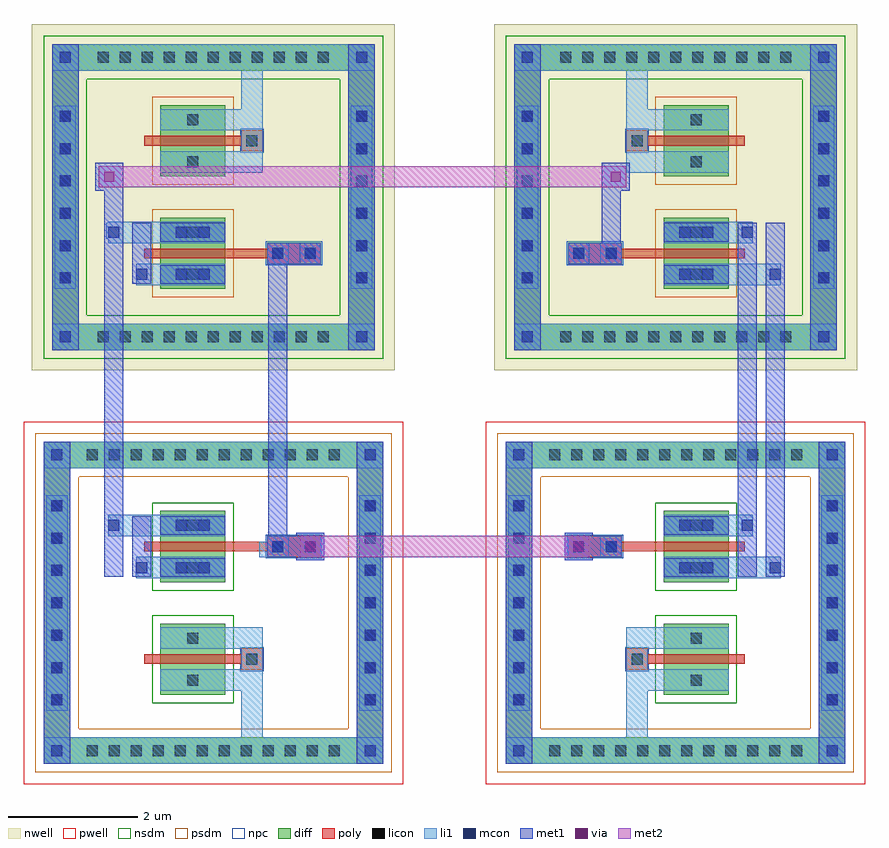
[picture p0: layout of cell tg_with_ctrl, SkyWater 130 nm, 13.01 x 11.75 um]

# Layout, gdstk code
from math import pi, radians
import gdstk
lib = gdstk.Library(unit=1e-6, precision=5e-09)
def R(c, l, rs):  # rectangles x0, y0, x1, y1
    for r in rs: c.add(gdstk.rectangle(r[:2], r[2:], *l))
def A(c, l, x, y, w, h, nx, ny, dx, dy):  # array of equal rectangles
    R(c, l, [(x+i*dx, y+j*dy, x+i*dx+w, y+j*dy+h) for i in range(nx) for j in range(ny)])
def P(c, l, *ps):  # polygons
    for p in ps: c.add(gdstk.Polygon(p, *l))
nwell = (64, 20)
pwell = (64, 44)
diff = (65, 20)
poly = (66, 20)
licon = (66, 44)
li1 = (67, 20)
mcon = (67, 44)
met1 = (68, 20)
via = (68, 44)
met2 = (69, 20)
nsdm = (93, 44)
psdm = (94, 20)
npc = (95, 20)

unnamed_6942f0cc = lib.new_cell('Unnamed_6942f0cc')
R(unnamed_6942f0cc, nwell, [(-2.675,-2.805,2.675,2.805)])
A(unnamed_6942f0cc, diff, -1.455, -2.495, 0.41, 0.41, 6, 2, 0.5, 4.58)
A(unnamed_6942f0cc, diff, -2.365, -1.905, 0.41, 0.41, 1, 11, 0, 0.34)
A(unnamed_6942f0cc, diff, 1.955, -1.905, 0.41, 0.41, 1, 11, 0, 0.34)
R(unnamed_6942f0cc, diff, [(-1.455,-2.495,1.455,-2.085), (-2.365,-1.905,-1.955,1.905), (1.955,-1.905,2.365,1.905), (-1.42,-0.18,-0.32,0.82), (0.32,-0.18,1.42,0.82), (-1.455,2.085,1.455,2.495)])
P(unnamed_6942f0cc, diff, [(2.365,2.495),(-2.365,2.495),(-2.365,-2.085),(-1.955,-2.085),(-1.955,2.085),(1.955,2.085),(1.955,-2.085),(-1.955,-2.085),(-2.365,-2.085),(-2.365,-2.495),(2.365,-2.495)])
R(unnamed_6942f0cc, poly, [(0.705,-1.66,1.035,-1.33), (0.705,-1.66,1.035,-0.83), (0.705,-1.16,1.035,-0.83), (0.795,-0.83,0.945,-0.43), (-1.035,-0.76,-0.705,-0.43), (-1.035,-0.76,-0.705,-0.43), (-0.945,-0.43,-0.795,1.07), (0.795,-0.43,0.945,1.07)])
A(unnamed_6942f0cc, licon, -1.335, -2.375, 0.17, 0.17, 6, 2, 0.5, 4.58)
A(unnamed_6942f0cc, licon, -2.245, -1.785, 0.17, 0.17, 1, 11, 0, 0.34)
A(unnamed_6942f0cc, licon, 2.075, -1.785, 0.17, 0.17, 1, 11, 0, 0.34)
R(unnamed_6942f0cc, licon, [(0.785,-1.58,0.955,-1.41), (0.785,-1.08,0.955,-0.91), (-0.955,-0.68,-0.785,-0.51), (-1.28,0.235,-1.11,0.405), (-0.63,0.235,-0.46,0.405), (0.46,0.235,0.63,0.405), (1.11,0.235,1.28,0.405)])
A(unnamed_6942f0cc, li1, -1.415, -2.455, 0.33, 0.33, 6, 2, 0.5, 4.58)
A(unnamed_6942f0cc, li1, -2.325, -1.865, 0.33, 0.33, 1, 11, 0, 0.34)
A(unnamed_6942f0cc, li1, 1.995, -1.865, 0.33, 0.33, 1, 11, 0, 0.34)
R(unnamed_6942f0cc, li1, [(-2.365,-2.495,-1.955,-2.085), (1.955,-2.495,2.365,-2.085), (-1.415,-2.455,1.415,-2.125), (-2.245,-2.375,-2.075,-2.205), (-2.245,-2.375,-2.075,-2.205), (2.075,-2.375,2.245,-2.205), (2.075,-2.375,2.245,-2.205), (-2.365,-2.085,-1.955,2.085), (1.955,-2.085,2.365,2.085), (0.705,-1.66,1.035,-1.33), (0.705,-1.16,1.035,-0.83), (-2.365,-0.76,-1.035,-0.43), (-1.36,-0.76,-1.035,-0.43), (-1.36,-0.76,-1.03,-0.18), (-1.035,-0.76,-0.705,-0.43), (-0.71,-0.76,-0.38,-0.18), (-0.705,-0.76,-0.38,-0.43), (-1.36,-0.18,-1.03,0.82), (-0.71,-0.18,-0.38,0.82), (0.38,-0.18,0.71,0.82), (1.03,-0.18,1.36,0.82), (0.46,0.055,0.63,0.225), (0.46,0.055,0.63,0.585), (1.11,0.055,1.28,0.225), (1.11,0.055,1.28,0.585), (-1.36,0.155,-1.03,0.485), (-0.71,0.155,-0.38,0.485), (0.38,0.155,0.71,0.485), (1.03,0.155,1.36,0.485), (0.46,0.415,0.63,0.585), (1.11,0.415,1.28,0.585), (0.38,0.82,0.71,1.195), (1.03,0.82,1.36,1.625), (0.46,1.025,0.63,1.195), (1.11,1.455,1.28,1.625), (-2.365,2.085,-1.955,2.495), (1.955,2.085,2.365,2.495), (-1.415,2.125,1.415,2.455), (-2.245,2.205,-2.075,2.375), (-2.245,2.205,-2.075,2.375), (2.075,2.205,2.245,2.375), (2.075,2.205,2.245,2.375)])
A(unnamed_6942f0cc, mcon, -1.335, -2.375, 0.17, 0.17, 6, 2, 0.5, 4.58)
R(unnamed_6942f0cc, mcon, [(-2.245,-2.375,-2.075,-2.205), (2.075,-2.375,2.245,-2.205), (0.785,-1.58,0.955,-1.41), (0.785,-1.08,0.955,-0.91), (0.46,0.055,0.63,0.225), (1.11,0.055,1.28,0.225), (0.46,0.415,0.63,0.585), (1.11,0.415,1.28,0.585), (0.46,1.025,0.63,1.195), (1.11,1.455,1.28,1.625), (-2.245,2.205,-2.075,2.375), (2.075,2.205,2.245,2.375)])
A(unnamed_6942f0cc, met1, -1.395, -2.435, 0.29, 0.29, 6, 2, 0.5, 4.58)
R(unnamed_6942f0cc, met1, [(-2.365,-2.495,-1.955,-2.085), (-2.365,-2.495,-1.955,-2.085), (-1.955,-2.495,1.955,-2.085), (1.955,-2.495,2.365,-2.085), (1.955,-2.495,2.365,-2.085), (-2.305,-2.435,-2.015,-2.145), (2.015,-2.435,2.305,-2.145), (0.705,-1.66,1.035,-0.83), (0.725,-1.64,1.015,-1.35), (0.725,-1.14,1.015,-0.85), (0.4,-0.18,0.69,0.82), (1.05,-0.18,1.34,0.82), (0.4,-0.005,0.69,0.285), (1.05,-0.005,1.34,0.285), (0.4,0.355,0.69,0.645), (1.05,0.355,1.34,0.645), (0.4,0.965,0.69,1.255), (0.4,0.965,1.34,1.255), (0.4,1.395,1.34,1.685), (1.05,1.395,1.34,1.685), (-2.365,2.085,-1.955,2.495), (-2.365,2.085,-1.955,2.495), (-1.955,2.085,1.955,2.495), (1.955,2.085,2.365,2.495), (1.955,2.085,2.365,2.495), (-2.305,2.145,-2.015,2.435), (2.015,2.145,2.305,2.435)])
P(unnamed_6942f0cc, nsdm, [(2.495,2.625),(-2.495,2.625),(-2.495,-1.955),(-1.825,-1.955),(-1.825,1.955),(1.825,1.955),(1.825,-1.955),(-1.825,-1.955),(-2.495,-1.955),(-2.495,-2.625),(2.495,-2.625)])
R(unnamed_6942f0cc, psdm, [(-1.55,-0.31,-0.19,0.95), (0.19,-0.31,1.55,0.95)])
R(unnamed_6942f0cc, npc, [(0.685,-1.68,1.055,-1.31), (0.685,-1.68,1.055,-0.81), (0.685,-1.68,1.055,-0.81), (0.685,-1.18,1.055,-0.81), (-1.055,-0.78,-0.685,-0.41)])

unnamed_b963373b = lib.new_cell('Unnamed_b963373b')
R(unnamed_b963373b, pwell, [(-2.8,-2.935,2.8,2.935)])
A(unnamed_b963373b, diff, -1.705, -2.625, 0.41, 0.41, 7, 2, 0.5, 4.84)
A(unnamed_b963373b, diff, -2.49, -2.075, 0.41, 0.41, 1, 12, 0, 0.34)
A(unnamed_b963373b, diff, 2.08, -2.075, 0.41, 0.41, 1, 12, 0, 0.34)
R(unnamed_b963373b, diff, [(-1.705,-2.625,1.705,-2.215), (-2.49,-2.075,-2.08,2.075), (2.08,-2.075,2.49,2.075), (-1.42,-0.18,-0.32,0.82), (0.32,-0.18,1.42,0.82), (-1.705,2.215,1.705,2.625)])
P(unnamed_b963373b, diff, [(2.49,2.625),(-2.49,2.625),(-2.49,-2.215),(-2.08,-2.215),(-2.08,2.215),(2.08,2.215),(2.08,-2.215),(-2.08,-2.215),(-2.49,-2.215),(-2.49,-2.625),(2.49,-2.625)])
R(unnamed_b963373b, poly, [(-1.035,-1.66,-0.705,-1.33), (-1.035,-1.66,-0.705,-0.83), (-1.035,-1.16,-0.705,-0.83), (-0.945,-0.83,-0.795,-0.43), (0.705,-0.76,1.035,-0.43), (0.705,-0.76,1.035,-0.43), (-0.945,-0.43,-0.795,1.07), (0.795,-0.43,0.945,1.07)])
A(unnamed_b963373b, licon, -1.585, -2.505, 0.17, 0.17, 7, 2, 0.5, 4.84)
A(unnamed_b963373b, licon, -2.37, -1.955, 0.17, 0.17, 1, 12, 0, 0.34)
A(unnamed_b963373b, licon, 2.2, -1.955, 0.17, 0.17, 1, 12, 0, 0.34)
R(unnamed_b963373b, licon, [(-0.955,-1.58,-0.785,-1.41), (-0.955,-1.08,-0.785,-0.91), (0.785,-0.68,0.955,-0.51), (-1.28,0.235,-1.11,0.405), (-0.63,0.235,-0.46,0.405), (0.46,0.235,0.63,0.405), (1.11,0.235,1.28,0.405)])
A(unnamed_b963373b, li1, -1.665, -2.585, 0.33, 0.33, 7, 2, 0.5, 4.84)
A(unnamed_b963373b, li1, -2.45, -2.035, 0.33, 0.33, 1, 12, 0, 0.34)
A(unnamed_b963373b, li1, 2.12, -2.035, 0.33, 0.33, 1, 12, 0, 0.34)
R(unnamed_b963373b, li1, [(-2.49,-2.625,-2.08,-2.215), (2.08,-2.625,2.49,-2.215), (-1.665,-2.585,1.665,-2.255), (-2.37,-2.505,-2.2,-2.335), (-2.37,-2.505,-2.2,-2.335), (2.2,-2.505,2.37,-2.335), (2.2,-2.505,2.37,-2.335), (-2.49,-2.215,-2.08,2.215), (2.08,-2.215,2.49,2.215), (-1.035,-1.66,-0.705,-1.33), (-1.035,-1.16,-0.705,-0.83), (0.38,-0.76,0.705,-0.43), (0.38,-0.76,0.71,-0.18), (0.705,-0.76,1.035,-0.43), (0.705,-0.76,2.49,-0.43), (1.03,-0.76,1.36,-0.18), (1.035,-0.76,1.36,-0.43), (-1.36,-0.18,-1.03,0.82), (-0.71,-0.18,-0.38,0.82), (0.38,-0.18,0.71,0.82), (1.03,-0.18,1.36,0.82), (-1.28,0.055,-1.11,0.225), (-1.28,0.055,-1.11,0.585), (-0.63,0.055,-0.46,0.225), (-0.63,0.055,-0.46,0.585), (-1.36,0.155,-1.03,0.485), (-0.71,0.155,-0.38,0.485), (0.38,0.155,0.71,0.485), (1.03,0.155,1.36,0.485), (-1.28,0.415,-1.11,0.585), (-0.63,0.415,-0.46,0.585), (-1.36,0.82,-1.03,1.195), (-0.71,0.82,-0.38,1.625), (-1.28,1.025,-1.11,1.195), (-0.63,1.455,-0.46,1.625), (-2.49,2.215,-2.08,2.625), (2.08,2.215,2.49,2.625), (-1.665,2.255,1.665,2.585), (-2.37,2.335,-2.2,2.505), (-2.37,2.335,-2.2,2.505), (2.2,2.335,2.37,2.505), (2.2,2.335,2.37,2.505)])
A(unnamed_b963373b, mcon, -1.585, -2.505, 0.17, 0.17, 7, 2, 0.5, 4.84)
R(unnamed_b963373b, mcon, [(-2.37,-2.505,-2.2,-2.335), (2.2,-2.505,2.37,-2.335), (-0.955,-1.58,-0.785,-1.41), (-0.955,-1.08,-0.785,-0.91), (-1.28,0.055,-1.11,0.225), (-0.63,0.055,-0.46,0.225), (-1.28,0.415,-1.11,0.585), (-0.63,0.415,-0.46,0.585), (-1.28,1.025,-1.11,1.195), (-0.63,1.455,-0.46,1.625), (-2.37,2.335,-2.2,2.505), (2.2,2.335,2.37,2.505)])
A(unnamed_b963373b, met1, -1.645, -2.565, 0.29, 0.29, 7, 2, 0.5, 4.84)
R(unnamed_b963373b, met1, [(-2.49,-2.625,-2.08,-2.215), (-2.49,-2.625,-2.08,-2.215), (-2.08,-2.625,2.08,-2.215), (2.08,-2.625,2.49,-2.215), (2.08,-2.625,2.49,-2.215), (-2.43,-2.565,-2.14,-2.275), (2.14,-2.565,2.43,-2.275), (-1.035,-1.66,-0.705,-0.83), (-1.015,-1.64,-0.725,-1.35), (-1.015,-1.14,-0.725,-0.85), (-1.34,-0.18,-1.05,0.82), (-0.69,-0.18,-0.4,0.82), (-1.34,-0.005,-1.05,0.285), (-0.69,-0.005,-0.4,0.285), (-1.34,0.355,-1.05,0.645), (-0.69,0.355,-0.4,0.645), (-1.34,0.965,-1.05,1.255), (-1.34,0.965,-0.4,1.255), (-1.34,1.395,-0.4,1.685), (-0.69,1.395,-0.4,1.685), (-2.49,2.215,-2.08,2.625), (-2.49,2.215,-2.08,2.625), (-2.08,2.215,2.08,2.625), (2.08,2.215,2.49,2.625), (2.08,2.215,2.49,2.625), (-2.43,2.275,-2.14,2.565), (2.14,2.275,2.43,2.565)])
R(unnamed_b963373b, nsdm, [(-1.55,-0.31,-0.19,0.95), (0.19,-0.31,1.55,0.95)])
P(unnamed_b963373b, psdm, [(2.62,2.755),(-2.62,2.755),(-2.62,-2.085),(-1.95,-2.085),(-1.95,2.085),(1.95,2.085),(1.95,-2.085),(-1.95,-2.085),(-2.62,-2.085),(-2.62,-2.755),(2.62,-2.755)])
R(unnamed_b963373b, npc, [(-1.055,-1.68,-0.685,-1.31), (-1.055,-1.68,-0.685,-0.81), (-1.055,-1.68,-0.685,-0.81), (-1.055,-1.18,-0.685,-0.81), (0.685,-0.78,1.055,-0.41)])

straight_route_830b9ce9 = lib.new_cell('straight_route_830b9ce9')
R(straight_route_830b9ce9, met1, [(0.965,0.4,1.255,4.93)])

straight_route_b1a6c968 = lib.new_cell('straight_route_b1a6c968')
R(straight_route_b1a6c968, met1, [(1.395,0.4,1.685,4.93)])

tg_1 = lib.new_cell('tg$1')
tg_1.add(gdstk.Reference(unnamed_6942f0cc, (0,6.27), rotation=3*pi/2))
tg_1.add(gdstk.Reference(unnamed_b963373b, (0,0), rotation=3*pi/2))
tg_1.add(gdstk.Reference(straight_route_830b9ce9, (0,0)))
tg_1.add(gdstk.Reference(straight_route_b1a6c968, (0,0)))

pmos_1 = lib.new_cell('pmos$1')
R(pmos_1, nwell, [(-2.675,-2.805,2.675,2.805)])
A(pmos_1, diff, -1.455, -2.495, 0.41, 0.41, 6, 2, 0.5, 4.58)
A(pmos_1, diff, -2.365, -1.905, 0.41, 0.41, 1, 11, 0, 0.34)
A(pmos_1, diff, 1.955, -1.905, 0.41, 0.41, 1, 11, 0, 0.34)
R(pmos_1, diff, [(-1.455,-2.495,1.455,-2.085), (-2.365,-1.905,-1.955,1.905), (1.955,-1.905,2.365,1.905), (-1.42,-0.18,-0.32,0.82), (0.32,-0.18,1.42,0.82), (-1.455,2.085,1.455,2.495)])
P(pmos_1, diff, [(2.365,2.495),(-2.365,2.495),(-2.365,-2.085),(-1.955,-2.085),(-1.955,2.085),(1.955,2.085),(1.955,-2.085),(-1.955,-2.085),(-2.365,-2.085),(-2.365,-2.495),(2.365,-2.495)])
R(pmos_1, poly, [(-1.035,-1.66,-0.705,-1.33), (-1.035,-1.66,-0.705,-0.83), (-1.035,-1.16,-0.705,-0.83), (-0.945,-0.83,-0.795,-0.43), (0.705,-0.76,1.035,-0.43), (0.705,-0.76,1.035,-0.43), (-0.945,-0.43,-0.795,1.07), (0.795,-0.43,0.945,1.07)])
A(pmos_1, licon, -1.335, -2.375, 0.17, 0.17, 6, 2, 0.5, 4.58)
A(pmos_1, licon, -2.245, -1.785, 0.17, 0.17, 1, 11, 0, 0.34)
A(pmos_1, licon, 2.075, -1.785, 0.17, 0.17, 1, 11, 0, 0.34)
R(pmos_1, licon, [(-0.955,-1.58,-0.785,-1.41), (-0.955,-1.08,-0.785,-0.91), (0.785,-0.68,0.955,-0.51), (-1.28,0.235,-1.11,0.405), (-0.63,0.235,-0.46,0.405), (0.46,0.235,0.63,0.405), (1.11,0.235,1.28,0.405)])
A(pmos_1, li1, -1.415, -2.455, 0.33, 0.33, 6, 2, 0.5, 4.58)
A(pmos_1, li1, -2.325, -1.865, 0.33, 0.33, 1, 11, 0, 0.34)
A(pmos_1, li1, 1.995, -1.865, 0.33, 0.33, 1, 11, 0, 0.34)
R(pmos_1, li1, [(-2.365,-2.495,-1.955,-2.085), (1.955,-2.495,2.365,-2.085), (-1.415,-2.455,1.415,-2.125), (-2.245,-2.375,-2.075,-2.205), (-2.245,-2.375,-2.075,-2.205), (2.075,-2.375,2.245,-2.205), (2.075,-2.375,2.245,-2.205), (-2.365,-2.085,-1.955,2.085), (1.955,-2.085,2.365,2.085), (-1.035,-1.66,-0.705,-1.33), (-1.035,-1.16,-0.705,-0.83), (0.38,-0.76,0.705,-0.43), (0.38,-0.76,0.71,-0.18), (0.705,-0.76,1.035,-0.43), (0.705,-0.76,2.365,-0.43), (1.03,-0.76,1.36,-0.18), (1.035,-0.76,1.36,-0.43), (-1.36,-0.18,-1.03,0.82), (-0.71,-0.18,-0.38,0.82), (0.38,-0.18,0.71,0.82), (1.03,-0.18,1.36,0.82), (-1.28,0.055,-1.11,0.225), (-1.28,0.055,-1.11,0.585), (-0.63,0.055,-0.46,0.225), (-0.63,0.055,-0.46,0.585), (-1.36,0.155,-1.03,0.485), (-0.71,0.155,-0.38,0.485), (0.38,0.155,0.71,0.485), (1.03,0.155,1.36,0.485), (-1.28,0.415,-1.11,0.585), (-0.63,0.415,-0.46,0.585), (-1.36,0.82,-1.03,1.195), (-0.71,0.82,-0.38,1.625), (-1.28,1.025,-1.11,1.195), (-0.63,1.455,-0.46,1.625), (-2.365,2.085,-1.955,2.495), (1.955,2.085,2.365,2.495), (-1.415,2.125,1.415,2.455), (-2.245,2.205,-2.075,2.375), (-2.245,2.205,-2.075,2.375), (2.075,2.205,2.245,2.375), (2.075,2.205,2.245,2.375)])
A(pmos_1, mcon, -1.335, -2.375, 0.17, 0.17, 6, 2, 0.5, 4.58)
R(pmos_1, mcon, [(-2.245,-2.375,-2.075,-2.205), (2.075,-2.375,2.245,-2.205), (-0.955,-1.58,-0.785,-1.41), (-0.955,-1.08,-0.785,-0.91), (-1.28,0.055,-1.11,0.225), (-0.63,0.055,-0.46,0.225), (-1.28,0.415,-1.11,0.585), (-0.63,0.415,-0.46,0.585), (-1.28,1.025,-1.11,1.195), (-0.63,1.455,-0.46,1.625), (-2.245,2.205,-2.075,2.375), (2.075,2.205,2.245,2.375)])
A(pmos_1, met1, -1.395, -2.435, 0.29, 0.29, 6, 2, 0.5, 4.58)
R(pmos_1, met1, [(-2.365,-2.495,-1.955,-2.085), (-2.365,-2.495,-1.955,-2.085), (-1.955,-2.495,1.955,-2.085), (1.955,-2.495,2.365,-2.085), (1.955,-2.495,2.365,-2.085), (-2.305,-2.435,-2.015,-2.145), (2.015,-2.435,2.305,-2.145), (-1.035,-1.66,-0.705,-0.83), (-1.015,-1.64,-0.725,-1.35), (-1.015,-1.14,-0.725,-0.85), (-1.34,-0.18,-1.05,0.82), (-0.69,-0.18,-0.4,0.82), (-1.34,-0.005,-1.05,0.285), (-0.69,-0.005,-0.4,0.285), (-1.34,0.355,-1.05,0.645), (-0.69,0.355,-0.4,0.645), (-1.34,0.965,-1.05,1.255), (-1.34,0.965,-0.4,1.255), (-1.34,1.395,-0.4,1.685), (-0.69,1.395,-0.4,1.685), (-2.365,2.085,-1.955,2.495), (-2.365,2.085,-1.955,2.495), (-1.955,2.085,1.955,2.495), (1.955,2.085,2.365,2.495), (1.955,2.085,2.365,2.495), (-2.305,2.145,-2.015,2.435), (2.015,2.145,2.305,2.435)])
P(pmos_1, nsdm, [(2.495,2.625),(-2.495,2.625),(-2.495,-1.955),(-1.825,-1.955),(-1.825,1.955),(1.825,1.955),(1.825,-1.955),(-1.825,-1.955),(-2.495,-1.955),(-2.495,-2.625),(2.495,-2.625)])
R(pmos_1, psdm, [(-1.55,-0.31,-0.19,0.95), (0.19,-0.31,1.55,0.95)])
R(pmos_1, npc, [(-1.055,-1.68,-0.685,-1.31), (-1.055,-1.68,-0.685,-0.81), (-1.055,-1.68,-0.685,-0.81), (-1.055,-1.18,-0.685,-0.81), (0.685,-0.78,1.055,-0.41)])

nmos_1 = lib.new_cell('nmos$1')
R(nmos_1, pwell, [(-2.8,-2.935,2.8,2.935)])
A(nmos_1, diff, -1.705, -2.625, 0.41, 0.41, 7, 2, 0.5, 4.84)
A(nmos_1, diff, -2.49, -2.075, 0.41, 0.41, 1, 12, 0, 0.34)
A(nmos_1, diff, 2.08, -2.075, 0.41, 0.41, 1, 12, 0, 0.34)
R(nmos_1, diff, [(-1.705,-2.625,1.705,-2.215), (-2.49,-2.075,-2.08,2.075), (2.08,-2.075,2.49,2.075), (-1.42,-0.18,-0.32,0.82), (0.32,-0.18,1.42,0.82), (-1.705,2.215,1.705,2.625)])
P(nmos_1, diff, [(2.49,2.625),(-2.49,2.625),(-2.49,-2.215),(-2.08,-2.215),(-2.08,2.215),(2.08,2.215),(2.08,-2.215),(-2.08,-2.215),(-2.49,-2.215),(-2.49,-2.625),(2.49,-2.625)])
R(nmos_1, poly, [(0.705,-1.66,1.035,-1.33), (0.705,-1.66,1.035,-0.83), (0.705,-1.16,1.035,-0.83), (0.795,-0.83,0.945,-0.43), (-1.035,-0.76,-0.705,-0.43), (-1.035,-0.76,-0.705,-0.43), (-0.945,-0.43,-0.795,1.07), (0.795,-0.43,0.945,1.07)])
A(nmos_1, licon, -1.585, -2.505, 0.17, 0.17, 7, 2, 0.5, 4.84)
A(nmos_1, licon, -2.37, -1.955, 0.17, 0.17, 1, 12, 0, 0.34)
A(nmos_1, licon, 2.2, -1.955, 0.17, 0.17, 1, 12, 0, 0.34)
R(nmos_1, licon, [(0.785,-1.58,0.955,-1.41), (0.785,-1.08,0.955,-0.91), (-0.955,-0.68,-0.785,-0.51), (-1.28,0.235,-1.11,0.405), (-0.63,0.235,-0.46,0.405), (0.46,0.235,0.63,0.405), (1.11,0.235,1.28,0.405)])
A(nmos_1, li1, -1.665, -2.585, 0.33, 0.33, 7, 2, 0.5, 4.84)
A(nmos_1, li1, -2.45, -2.035, 0.33, 0.33, 1, 12, 0, 0.34)
A(nmos_1, li1, 2.12, -2.035, 0.33, 0.33, 1, 12, 0, 0.34)
R(nmos_1, li1, [(-2.49,-2.625,-2.08,-2.215), (2.08,-2.625,2.49,-2.215), (-1.665,-2.585,1.665,-2.255), (-2.37,-2.505,-2.2,-2.335), (-2.37,-2.505,-2.2,-2.335), (2.2,-2.505,2.37,-2.335), (2.2,-2.505,2.37,-2.335), (-2.49,-2.215,-2.08,2.215), (2.08,-2.215,2.49,2.215), (0.705,-1.66,1.035,-1.33), (0.705,-1.16,1.035,-0.83), (-2.49,-0.76,-1.035,-0.43), (-1.36,-0.76,-1.035,-0.43), (-1.36,-0.76,-1.03,-0.18), (-1.035,-0.76,-0.705,-0.43), (-0.71,-0.76,-0.38,-0.18), (-0.705,-0.76,-0.38,-0.43), (-1.36,-0.18,-1.03,0.82), (-0.71,-0.18,-0.38,0.82), (0.38,-0.18,0.71,0.82), (1.03,-0.18,1.36,0.82), (0.46,0.055,0.63,0.225), (0.46,0.055,0.63,0.585), (1.11,0.055,1.28,0.225), (1.11,0.055,1.28,0.585), (-1.36,0.155,-1.03,0.485), (-0.71,0.155,-0.38,0.485), (0.38,0.155,0.71,0.485), (1.03,0.155,1.36,0.485), (0.46,0.415,0.63,0.585), (1.11,0.415,1.28,0.585), (0.38,0.82,0.71,1.195), (1.03,0.82,1.36,1.625), (0.46,1.025,0.63,1.195), (1.11,1.455,1.28,1.625), (-2.49,2.215,-2.08,2.625), (2.08,2.215,2.49,2.625), (-1.665,2.255,1.665,2.585), (-2.37,2.335,-2.2,2.505), (-2.37,2.335,-2.2,2.505), (2.2,2.335,2.37,2.505), (2.2,2.335,2.37,2.505)])
A(nmos_1, mcon, -1.585, -2.505, 0.17, 0.17, 7, 2, 0.5, 4.84)
R(nmos_1, mcon, [(-2.37,-2.505,-2.2,-2.335), (2.2,-2.505,2.37,-2.335), (0.785,-1.58,0.955,-1.41), (0.785,-1.08,0.955,-0.91), (0.46,0.055,0.63,0.225), (1.11,0.055,1.28,0.225), (0.46,0.415,0.63,0.585), (1.11,0.415,1.28,0.585), (0.46,1.025,0.63,1.195), (1.11,1.455,1.28,1.625), (-2.37,2.335,-2.2,2.505), (2.2,2.335,2.37,2.505)])
A(nmos_1, met1, -1.645, -2.565, 0.29, 0.29, 7, 2, 0.5, 4.84)
R(nmos_1, met1, [(-2.49,-2.625,-2.08,-2.215), (-2.49,-2.625,-2.08,-2.215), (-2.08,-2.625,2.08,-2.215), (2.08,-2.625,2.49,-2.215), (2.08,-2.625,2.49,-2.215), (-2.43,-2.565,-2.14,-2.275), (2.14,-2.565,2.43,-2.275), (0.705,-1.66,1.035,-0.83), (0.725,-1.64,1.015,-1.35), (0.725,-1.14,1.015,-0.85), (0.4,-0.18,0.69,0.82), (1.05,-0.18,1.34,0.82), (0.4,-0.005,0.69,0.285), (1.05,-0.005,1.34,0.285), (0.4,0.355,0.69,0.645), (1.05,0.355,1.34,0.645), (0.4,0.965,0.69,1.255), (0.4,0.965,1.34,1.255), (0.4,1.395,1.34,1.685), (1.05,1.395,1.34,1.685), (-2.49,2.215,-2.08,2.625), (-2.49,2.215,-2.08,2.625), (-2.08,2.215,2.08,2.625), (2.08,2.215,2.49,2.625), (2.08,2.215,2.49,2.625), (-2.43,2.275,-2.14,2.565), (2.14,2.275,2.43,2.565)])
R(nmos_1, nsdm, [(-1.55,-0.31,-0.19,0.95), (0.19,-0.31,1.55,0.95)])
P(nmos_1, psdm, [(2.62,2.755),(-2.62,2.755),(-2.62,-2.085),(-1.95,-2.085),(-1.95,2.085),(1.95,2.085),(1.95,-2.085),(-1.95,-2.085),(-2.62,-2.085),(-2.62,-2.755),(2.62,-2.755)])
R(nmos_1, npc, [(0.685,-1.68,1.055,-1.31), (0.685,-1.68,1.055,-0.81), (0.685,-1.68,1.055,-0.81), (0.685,-1.18,1.055,-0.81), (-1.055,-0.78,-0.685,-0.41)])

straight_route_4b17d529 = lib.new_cell('straight_route_4b17d529')
R(straight_route_4b17d529, met1, [(-1.685,1.34,-1.395,5.87)])

straight_route_b48f77af = lib.new_cell('straight_route_b48f77af')
R(straight_route_b48f77af, met1, [(0.85,0.725,1.14,5.255)])

gate_ctrl_inv_1 = lib.new_cell('gate_ctrl_inv$1')
gate_ctrl_inv_1.add(gdstk.Reference(pmos_1, (0,6.27), rotation=pi/2))
gate_ctrl_inv_1.add(gdstk.Reference(nmos_1, (0,0), rotation=pi/2))
gate_ctrl_inv_1.add(gdstk.Reference(straight_route_4b17d529, (0,0)))
gate_ctrl_inv_1.add(gdstk.Reference(straight_route_b48f77af, (0,0)))

c_route_199e9707 = lib.new_cell('c_route_199e9707')
R(c_route_199e9707, met1, [(6,2.475,6.29,3.73), (-1.685,2.8,-1.395,3.73), (-1.825,3.3,-1.395,3.73), (6,3.3,6.43,3.73)])
R(c_route_199e9707, via, [(-1.685,3.44,-1.535,3.59), (6.14,3.44,6.29,3.59)])
R(c_route_199e9707, met2, [(-1.775,3.35,-1.445,3.68), (-1.775,3.35,6.38,3.68), (6.05,3.35,6.38,3.68)])
P(c_route_199e9707, met2, [(-1.775,3.68),(-1.445,3.68),(-1.445,3.68),(-1.775,3.68)],
  [(6.05,3.68),(6.38,3.68),(6.38,3.68),(6.05,3.68)])

straight_route_c6569ffe = lib.new_cell('straight_route_c6569ffe')
R(straight_route_c6569ffe, met1, [(1.28,-2.415,1.71,-1.985), (5.43,-2.415,5.86,-1.985)])
R(straight_route_c6569ffe, via, [(1.42,-2.275,1.57,-2.125), (5.57,-2.275,5.72,-2.125)])
R(straight_route_c6569ffe, met2, [(1.33,-2.365,1.66,-2.035), (1.66,-2.365,5.48,-2.035), (5.48,-2.365,5.81,-2.035)])

compass_45394bd3_8 = lib.new_cell('compass_45394bd3$8')
R(compass_45394bd3_8, li1, [(-0.12,-0.12,0.12,0.12)])

unnamed_1c623ed8 = lib.new_cell('Unnamed_1c623ed8')
unnamed_1c623ed8.add(gdstk.Reference(compass_45394bd3_8, (0,0)))
unnamed_1c623ed8.add(gdstk.Label('A', (0,0), layer=67, texttype=5))

compass_45394bd3_9 = lib.new_cell('compass_45394bd3$9')
R(compass_45394bd3_9, li1, [(-0.12,-0.12,0.12,0.12)])

unnamed_898ac497 = lib.new_cell('Unnamed_898ac497')
unnamed_898ac497.add(gdstk.Reference(compass_45394bd3_9, (0,0)))
unnamed_898ac497.add(gdstk.Label('Y', (0,0), layer=67, texttype=5))

compass_45394bd3_10 = lib.new_cell('compass_45394bd3$10')
R(compass_45394bd3_10, li1, [(-0.12,-0.12,0.12,0.12)])

unnamed_baa51327 = lib.new_cell('Unnamed_baa51327')
unnamed_baa51327.add(gdstk.Reference(compass_45394bd3_10, (0,0)))
unnamed_baa51327.add(gdstk.Label('C', (0,0), layer=67, texttype=5))

compass_45394bd3_11 = lib.new_cell('compass_45394bd3$11')
R(compass_45394bd3_11, li1, [(-0.12,-0.12,0.12,0.12)])

unnamed_6e58375b = lib.new_cell('Unnamed_6e58375b')
unnamed_6e58375b.add(gdstk.Reference(compass_45394bd3_11, (0,0)))
unnamed_6e58375b.add(gdstk.Label('VDD', (0,0), layer=67, texttype=5))

compass_45394bd3_12 = lib.new_cell('compass_45394bd3$12')
R(compass_45394bd3_12, li1, [(-0.12,-0.12,0.12,0.12)])

unnamed_df8d3788 = lib.new_cell('Unnamed_df8d3788')
unnamed_df8d3788.add(gdstk.Reference(compass_45394bd3_12, (0,0)))
unnamed_df8d3788.add(gdstk.Label('VSS', (0,0), layer=67, texttype=5))

tg_with_ctrl = lib.new_cell('tg_with_ctrl')
tg_with_ctrl.add(gdstk.Reference(tg_1, (7.14,-3.07)))
tg_with_ctrl.add(gdstk.Reference(gate_ctrl_inv_1, (0,-3.07)))
tg_with_ctrl.add(gdstk.Reference(c_route_199e9707, (0,0)))
tg_with_ctrl.add(gdstk.Reference(straight_route_c6569ffe, (0,0)))
tg_with_ctrl.add(gdstk.Reference(unnamed_1c623ed8, (8.535,-2.55)))
tg_with_ctrl.add(gdstk.Reference(unnamed_898ac497, (8.535,1.98)))
tg_with_ctrl.add(gdstk.Reference(unnamed_baa51327, (0.83,-2.245)))
tg_with_ctrl.add(gdstk.Reference(unnamed_6e58375b, (-1.54,2.68)))
tg_with_ctrl.add(gdstk.Reference(unnamed_df8d3788, (-1.085,-2.55)))

lib.write_gds('tg_with_ctrl.gds')
